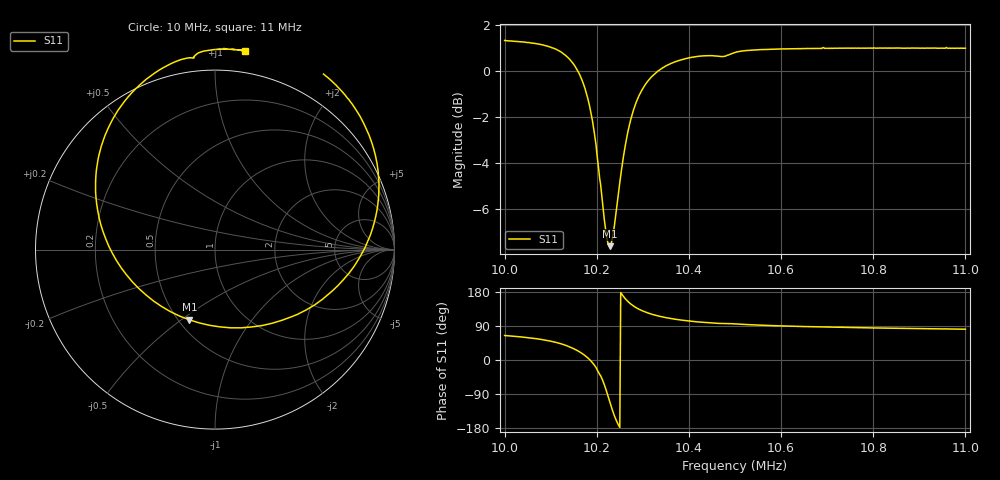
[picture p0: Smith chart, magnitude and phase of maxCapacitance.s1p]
# HZ S RI R 50
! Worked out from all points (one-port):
!   505 points, 10 MHz to 11 MHz, reference 50 ohm
!   lowest |S11| = -7.6 dB at 10.23 MHz (marker M1), VSWR 2.43, Z = 28.3 - j26.8 ohm
!   |S11| at or under -10 dB: nowhere
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1e7  0.4976 1.051
1.007539e7  0.6539 0.9358
1.010317e7  0.7378 0.8439
1.012499e7  0.8155 0.7289
1.014483e7  0.883 0.5659
1.016269e7  0.9135 0.36
1.017658e7  0.8871 0.1503
1.01865e7  0.8184 -0.0216
1.019642e7  0.6854 -0.1999
1.020435e7  0.5083 -0.336
1.02103e7  0.3734 -0.3936
1.022022e7  0.086 -0.4357
1.022816e7  -0.1427 -0.3912
1.024006e7  -0.4237 -0.2175
1.024998e7  -0.5721 -0.02
1.02599e7  -0.6461 0.1791
1.026982e7  -0.6654 0.3557
1.028371e7  -0.6401 0.551
1.029958e7  -0.5812 0.705
1.031546e7  -0.5138 0.8126
1.033133e7  -0.4491 0.8885
1.037498e7  -0.3022 1.006
1.044442e7  -0.1513 1.068
1.049997e7  -0.1008 1.091
1.062496e7  0.0167 1.116
1.074995e7  0.0845 1.116
1.087494e7  0.1316 1.112
1.099994e7  0.169 1.106
